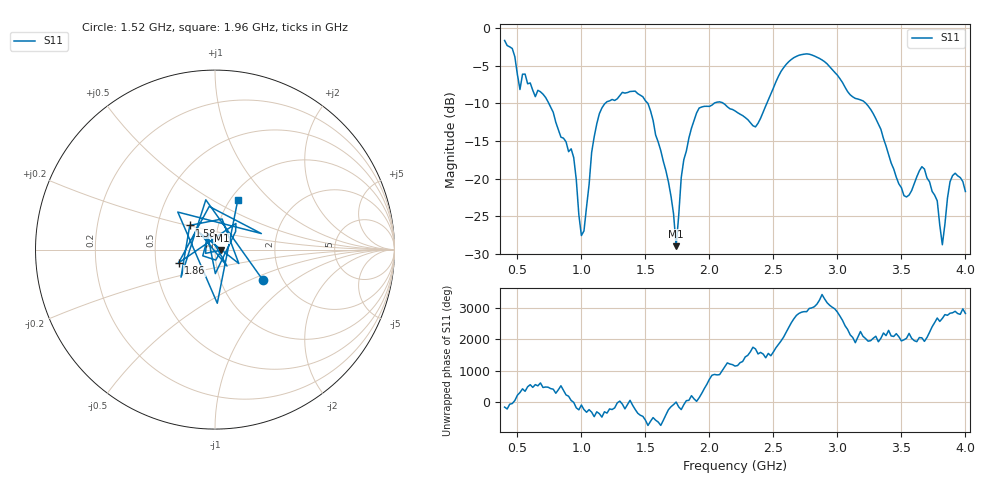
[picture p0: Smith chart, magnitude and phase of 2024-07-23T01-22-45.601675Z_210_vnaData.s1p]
!Created with skrf (http://scikit-rf.org).
# Hz S RI R 50.0
!freq ReS11 ImS11
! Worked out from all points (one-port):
!   181 points, 400 MHz to 4 GHz, reference 50 ohm
!   lowest |S11| = -28.9 dB at 1.74 GHz (marker M1), VSWR 1.07, Z = 53.7 - j0.287 ohm
!   |S11| at or under -10 dB: 745.4 MHz to 1.186 GHz (440.7 MHz wide, 45.6 % of centre); 1.519 GHz to 2.037 GHz (517.5 MHz wide, 29.1 % of centre); 3.223 GHz to end of sweep (the widest 3 of 4)
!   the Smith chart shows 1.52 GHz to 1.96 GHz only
!   S11 on the Smith chart (normalised r, x): 1.52 GHz: 1.59, -0.60; 1.58 GHz: 0.73, +0.20; 1.86 GHz: 0.66, -0.10; 1.96 GHz: 1.08, +0.65
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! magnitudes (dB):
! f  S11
! 400 MHz  -1.7
! 460 MHz  -2.7
! 520 MHz  -8.2
! 560 MHz  -6.1
! 860 MHz  -14.6
! 940 MHz  -17.2
! 1 GHz  -27.5
! 1.14 GHz  -11.4
! 1.3 GHz  -9.0
! 1.52 GHz  -10.0
! 1.58 GHz  -14.2
! 1.68 GHz  -20.4
! 1.74 GHz  -28.9
! 1.76 GHz  -24.9
! 1.8 GHz  -17.5
! 1.86 GHz  -13.3
! 1.96 GHz  -10.4
! 2.2 GHz  -11.0
! 2.36 GHz  -13.1
! 2.66 GHz  -3.9
! 3.1 GHz  -8.9
! 3.28 GHz  -11.4
! 3.56 GHz  -22.2
! 3.68 GHz  -18.7
! 3.78 GHz  -22.9
! 3.82 GHz  -28.8
! 3.9 GHz  -19.6
! 4 GHz  -21.7
